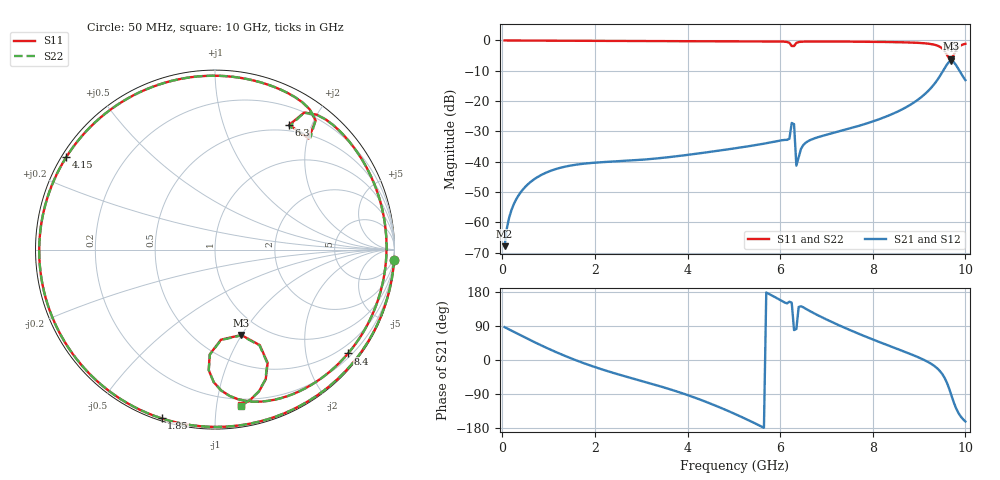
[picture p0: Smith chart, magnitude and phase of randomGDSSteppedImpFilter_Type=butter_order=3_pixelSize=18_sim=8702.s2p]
! freq	dB(S11)	phase(S11)	dB(S12)	phase(S12)
!  dB(S21)	phase(S21)	dB(S22)	phase(S22)
!S-par simulation data
#  GHz  S  DB  R 50
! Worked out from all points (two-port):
!   200 points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, 50 MHz to 10 GHz, reference 50 ohm
!   highest |S21| = -6.72 dB at 9.7 GHz (marker M1); lowest = -67.9 dB at 50 MHz (marker M2)
!   |S21| within 3 dB of the highest: 9.53 GHz to 9.861 GHz (330.7 MHz wide, 3.41 % of centre)
!   lowest |S11| = -6.1 dB at 9.7 GHz (marker M3), VSWR 2.98, Z = 39.4 - j49.8 ohm
!   |S11| at or under -10 dB: nowhere
!   |S22| runs from -6.0 to 0.0 dB; largest |S21 - S12| = 0
!   S11 on the Smith chart (normalised r, x): 50 MHz: 0, -36; 1.85 GHz: 0.01, -0.73; 4.15 GHz: 0.01, +0.28; 6.3 GHz: 0.42, +1.68; 8.4 GHz: 0.29, -2.88; 10 GHz: 0.15, -1.17
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0.05  -0.00 -3.2  -67.91 86.7  -67.91 86.7  -0.00 -3.2
0.2  -0.02 -12.7  -55.89 77.4  -55.89 77.4  -0.02 -12.7
0.5  -0.04 -31.3  -48.27 58.8  -48.27 58.8  -0.04 -31.3
1.1  -0.08 -67.1  -42.73 24.1  -42.73 24.1  -0.08 -67.1
1.75  -0.12 -102.5  -40.70 -8.0  -40.70 -8.0  -0.12 -102.5
1.85  -0.12 -107.6  -40.54 -12.4  -40.54 -12.4  -0.12 -107.6
2.65  -0.15 -146.1  -39.75 -43.0  -39.75 -43.0  -0.15 -146.1
3.4  -0.18 -179.4  -38.85 -69.1  -38.85 -69.1  -0.18 -179.4
4.15  -0.21 148.2  -37.48 -99.0  -37.48 -99.0  -0.21 148.2
5.05  -0.25 109.0  -35.55 -143.8  -35.55 -143.8  -0.25 108.9
6.15  -0.51 56.0  -32.81 149.5  -32.81 149.5  -0.50 56.1
6.3  -1.84 59.2  -27.64 79.0  -27.64 79.0  -1.92 58.8
6.35  -0.80 56.9  -41.32 82.0  -41.32 82.0  -0.82 57.0
6.5  -0.39 46.8  -34.52 138.9  -34.52 138.9  -0.39 46.8
6.7  -0.35 36.6  -32.56 125.3  -32.56 125.3  -0.35 36.6
7.5  -0.39 0.4  -29.07 79.4  -29.07 79.4  -0.39 0.3
8.35  -0.52 -35.9  -24.75 37.6  -24.75 37.6  -0.52 -35.9
8.4  -0.53 -38.0  -24.43 35.2  -24.43 35.2  -0.53 -38.0
9.25  -1.17 -75.7  -15.81 -9.3  -15.81 -9.3  -1.17 -75.7
9.55  -3.45 -93.0  -9.20 -46.9  -9.20 -46.9  -3.44 -92.9
9.7  -6.06 -72.9  -6.72 -94.1  -6.72 -94.1  -6.02 -73.0
10  -1.11 -80.4  -13.10 -162.2  -13.10 -162.2  -1.10 -80.5
